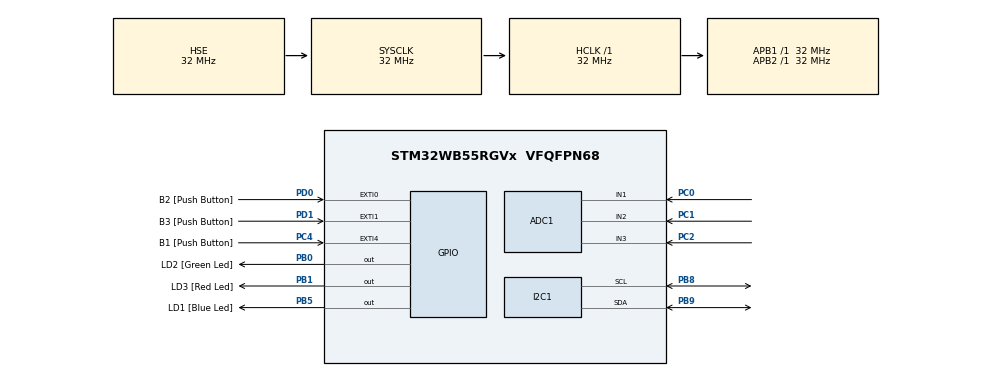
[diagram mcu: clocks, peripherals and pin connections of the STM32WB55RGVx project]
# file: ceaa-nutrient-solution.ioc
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ADC1.Channel-0\#ChannelRegularConversion=ADC_CHANNEL_VREFINT
ADC1.Channel-1\#ChannelRegularConversion=ADC_CHANNEL_1
ADC1.Channel-2\#ChannelRegularConversion=ADC_CHANNEL_2
ADC1.Channel-3\#ChannelRegularConversion=ADC_CHANNEL_3
ADC1.ClockPrescaler=ADC_CLOCK_ASYNC_DIV64
ADC1.DMAContinuousRequests=ENABLE
ADC1.EnableAnalogWatchDog1=false
ADC1.NbrOfConversion=4
ADC1.NbrOfConversionFlag=1
ADC1.OffsetNumber-0\#ChannelRegularConversion=ADC_OFFSET_NONE
ADC1.OffsetNumber-1\#ChannelRegularConversion=ADC_OFFSET_NONE
ADC1.OffsetNumber-2\#ChannelRegularConversion=ADC_OFFSET_NONE
ADC1.OffsetNumber-3\#ChannelRegularConversion=ADC_OFFSET_NONE
ADC1.OversamplingMode=ENABLE
ADC1.OversamplingStopReset=ADC_REGOVERSAMPLING_RESUMED_MODE
ADC1.Rank-0\#ChannelRegularConversion=1
ADC1.Rank-1\#ChannelRegularConversion=2
ADC1.Rank-2\#ChannelRegularConversion=3
ADC1.Rank-3\#ChannelRegularConversion=4
ADC1.Ratio=ADC_OVERSAMPLING_RATIO_256
ADC1.RightBitShift=ADC_RIGHTBITSHIFT_4
ADC1.SamplingTime-0\#ChannelRegularConversion=ADC_SAMPLETIME_47CYCLES_5
ADC1.SamplingTime-1\#ChannelRegularConversion=ADC_SAMPLETIME_640CYCLES_5
ADC1.SamplingTime-2\#ChannelRegularConversion=ADC_SAMPLETIME_640CYCLES_5
ADC1.SamplingTime-3\#ChannelRegularConversion=ADC_SAMPLETIME_640CYCLES_5
ADC1.master=1
Dma.ADC1.0.Direction=DMA_PERIPH_TO_MEMORY
Dma.ADC1.0.EventEnable=DISABLE
Dma.ADC1.0.Instance=DMA1_Channel1
Dma.ADC1.0.MemDataAlignment=DMA_MDATAALIGN_HALFWORD
Dma.ADC1.0.MemInc=DMA_MINC_ENABLE
Dma.ADC1.0.Mode=DMA_NORMAL
Dma.ADC1.0.PeriphDataAlignment=DMA_PDATAALIGN_HALFWORD
Dma.ADC1.0.PeriphInc=DMA_PINC_DISABLE
Dma.ADC1.0.Polarity=HAL_DMAMUX_REQ_GEN_RISING
Dma.ADC1.0.Priority=DMA_PRIORITY_MEDIUM
Dma.ADC1.0.RequestNumber=1
Dma.ADC1.0.SignalID=NONE
Dma.ADC1.0.SyncEnable=DISABLE
Dma.ADC1.0.SyncPolarity=HAL_DMAMUX_SYNC_NO_EVENT
Dma.ADC1.0.SyncRequestNumber=1
Dma.ADC1.0.SyncSignalID=NONE
Dma.I2C1_RX.1.Direction=DMA_PERIPH_TO_MEMORY
Dma.I2C1_RX.1.EventEnable=DISABLE
Dma.I2C1_RX.1.Instance=DMA1_Channel2
Dma.I2C1_RX.1.MemDataAlignment=DMA_MDATAALIGN_BYTE
Dma.I2C1_RX.1.MemInc=DMA_MINC_ENABLE
Dma.I2C1_RX.1.Mode=DMA_NORMAL
Dma.I2C1_RX.1.PeriphDataAlignment=DMA_PDATAALIGN_BYTE
Dma.I2C1_RX.1.PeriphInc=DMA_PINC_DISABLE
Dma.I2C1_RX.1.Polarity=HAL_DMAMUX_REQ_GEN_RISING
Dma.I2C1_RX.1.Priority=DMA_PRIORITY_HIGH
Dma.I2C1_RX.1.RequestNumber=1
Dma.I2C1_RX.1.SignalID=NONE
Dma.I2C1_RX.1.SyncEnable=DISABLE
Dma.I2C1_RX.1.SyncPolarity=HAL_DMAMUX_SYNC_NO_EVENT
Dma.I2C1_RX.1.SyncRequestNumber=1
Dma.I2C1_RX.1.SyncSignalID=NONE
Dma.I2C1_TX.2.Direction=DMA_MEMORY_TO_PERIPH
Dma.I2C1_TX.2.EventEnable=DISABLE
Dma.I2C1_TX.2.Instance=DMA1_Channel3
Dma.I2C1_TX.2.MemDataAlignment=DMA_MDATAALIGN_BYTE
Dma.I2C1_TX.2.MemInc=DMA_MINC_ENABLE
Dma.I2C1_TX.2.Mode=DMA_NORMAL
Dma.I2C1_TX.2.PeriphDataAlignment=DMA_PDATAALIGN_BYTE
Dma.I2C1_TX.2.PeriphInc=DMA_PINC_DISABLE
Dma.I2C1_TX.2.Polarity=HAL_DMAMUX_REQ_GEN_RISING
Dma.I2C1_TX.2.Priority=DMA_PRIORITY_LOW
Dma.I2C1_TX.2.RequestNumber=1
Dma.I2C1_TX.2.SignalID=NONE
Dma.I2C1_TX.2.SyncEnable=DISABLE
Dma.I2C1_TX.2.SyncPolarity=HAL_DMAMUX_SYNC_NO_EVENT
Dma.I2C1_TX.2.SyncRequestNumber=1
Dma.I2C1_TX.2.SyncSignalID=NONE
Dma.Request0=ADC1
Dma.Request1=I2C1_RX
Dma.Request2=I2C1_TX
FREERTOS.INCLUDE_xTaskGetCurrentTaskHandle=1
FREERTOS.Tasks01=defaultTask,24,128,StartDefaultTask,Default,NULL,Static,defaultTaskBuffer,defaultTaskControlBlock;ctrlPumpsTask,24,128,controlPumps,Default,NULL,Static,ctrlPumpsTaskBuffer,ctrlPumpsTaskControlBlock
FREERTOS.configMAX_TASK_NAME_LEN=20
I2C1.I2C_Coeff_DF=0
I2C1.Timing=0x00707CBB
Mcu.Family=STM32WB
Mcu.Name=STM32WB55RGVx
Mcu.Package=VFQFPN68
NVIC.C2SEV_PWR_C2H_IRQn=true\:5\:0\:false\:false\:true\:true\:true\:false
NVIC.DMA1_Channel1_IRQn=true\:5\:0\:false\:false\:true\:true\:false\:true
NVIC.DMA1_Channel2_IRQn=true\:5\:0\:false\:false\:true\:true\:false\:true
NVIC.DMA1_Channel3_IRQn=true\:5\:0\:false\:false\:true\:true\:false\:true
NVIC.EXTI0_IRQn=true\:5\:0\:false\:false\:true\:true\:true\:true
NVIC.EXTI1_IRQn=true\:5\:0\:false\:false\:true\:true\:true\:true
NVIC.EXTI4_IRQn=true\:5\:0\:false\:false\:true\:true\:true\:true
NVIC.FLASH_IRQn=true\:5\:0\:false\:false\:true\:true\:true\:true
NVIC.HSEM_IRQn=true\:5\:0\:false\:false\:true\:true\:true\:true
NVIC.I2C1_EV_IRQn=true\:5\:0\:false\:false\:true\:true\:true\:true
NVIC.PVD_PVM_IRQn=true\:5\:0\:false\:false\:true\:true\:true\:true
NVIC.PWR_SOTF_BLEACT_802ACT_RFPHASE_IRQn=true\:5\:0\:false\:false\:true\:true\:true\:false
NVIC.PriorityGroup=NVIC_PRIORITYGROUP_4
NVIC.TIM1_TRG_COM_TIM17_IRQn=true\:0\:0\:false\:false\:true\:false\:false\:true
NVIC.TimeBase=TIM1_TRG_COM_TIM17_IRQn
NVIC.TimeBaseIP=TIM17
OSC_IN.Mode=HSE-External-Oscillator
OSC_IN.Signal=RCC_OSC_IN
OSC_OUT.Mode=HSE-External-Oscillator
OSC_OUT.Signal=RCC_OSC_OUT
PA11.Signal=USB_DM
PA12.Signal=USB_DP
PA13.GPIO_Label=JTMS
PA13.Signal=SYS_JTMS-SWDIO
PA14.GPIO_Label=JTCK
PA14.Signal=SYS_JTCK-SWCLK
PB0.GPIO_Label=LD2 [Green Led]
PB0.Signal=GPIO_Output
PB1.GPIO_Label=LD3 [Red Led]
PB1.Signal=GPIO_Output
PB3.GPIO_Label=JTDO
PB3.Signal=SYS_JTDO-SWO
PB5.GPIO_Label=LD1 [Blue Led]
PB5.Signal=GPIO_Output
PB6.GPIO_Label=STLINK_RX
PB6.Signal=USART1_TX
PB7.GPIO_Label=STLINK_TX
PB7.Signal=USART1_RX
PB8.Mode=I2C
PB8.Signal=I2C1_SCL
PB9.Mode=I2C
PB9.Signal=I2C1_SDA
PC0.Signal=ADCx_IN1
PC1.Signal=ADCx_IN2
PC13.Signal=SYS_WKUP2
PC14-OSC32_IN.Signal=RCC_OSC32_IN
PC15-OSC32_OUT.Signal=RCC_OSC32_OUT
PC2.Signal=ADCx_IN3
PC4.GPIO_Label=B1 [Push Button]
PC4.GPIO_ModeDefaultEXTI=GPIO_MODE_IT_FALLING
PC4.GPIO_PuPd=GPIO_PULLUP
PC4.Signal=GPXTI4
PD0.GPIO_Label=B2 [Push Button]
PD0.GPIO_ModeDefaultEXTI=GPIO_MODE_IT_FALLING
PD0.GPIO_PuPd=GPIO_PULLUP
PD0.Signal=GPXTI0
PD1.GPIO_Label=B3 [Push Button]
PD1.GPIO_ModeDefaultEXTI=GPIO_MODE_IT_FALLING
PD1.GPIO_PuPd=GPIO_PULLUP
PD1.Signal=GPXTI1
ProjectManager.HeapSize=0x1000
ProjectManager.StackSize=0x4000
ProjectManager.TargetToolchain=Makefile
RCC.ADCFreq_Value=48000000
RCC.AHBFreq_Value=32000000
RCC.APB1Freq_Value=32000000
RCC.APB1TimFreq_Value=32000000
RCC.APB2Freq_Value=32000000
RCC.APB2TimFreq_Value=32000000
RCC.APB3Freq_Value=16000000
RCC.CortexFreq_Value=32000000
RCC.HCLKFreq_Value=32000000
RCC.HSE_VALUE=32000000
RCC.HSI48_VALUE=48000000
RCC.HSI_VALUE=16000000
RCC.LSE_VALUE=32768
RCC.PLLM=RCC_PLLM_DIV2
RCC.PLLSAI1N=12
RCC.PLLSourceVirtual=RCC_PLLSOURCE_HSI
RCC.RTCClockSelection=RCC_RTCCLKSOURCE_HSE_DIV32
RCC.SYSCLKFreq_VALUE=32000000
RCC.SYSCLKSource=RCC_SYSCLKSOURCE_HSE
RCC.USBFreq_Value=48000000
RCC.VCOOutputFreq_Value=64000000
RF1.Mode=RF1_Activate
RF1.Signal=RF_RF1
SH.ADCx_IN1.0=ADC1_IN1,IN1-Single-Ended
SH.ADCx_IN2.0=ADC1_IN2,IN2-Single-Ended
SH.ADCx_IN3.0=ADC1_IN3,IN3-Single-Ended
STM32_WPAN.CFG_DEBUGGER_SUPPORTED=0
STM32_WPAN.CFG_FAST_CONN_ADV_INTERVAL_MAX_HEXA=0x0
STM32_WPAN.CFG_FAST_CONN_ADV_INTERVAL_MIN_HEXA=0x0
STM32_WPAN.CFG_LP_CONN_ADV_INTERVAL_MAX_HEXA=0x0
STM32_WPAN.CFG_LP_CONN_ADV_INTERVAL_MIN_HEXA=0x0
STM32_WPAN.CHANNEL=14
STM32_WPAN.LOCAL_NAME_FORMATTED=,'0'
STM32_WPAN.PANID=1812
STM32_WPAN.THREAD_APPLICATION=FTD
VP_ADC1_Vref_Input.Mode=IN-Vrefint
VP_FREERTOS_VS_CMSIS_V2.Mode=CMSIS_V2
VP_HSEM_VS_HSEM.Mode=HSEM_Activate
VP_RTC_VS_RTC_Activate.Mode=RTC_Enabled
VP_STM32_WPAN_VS_THREAD.Mode=STM32_WPAN_Enabled
VP_SYS_VS_tim17.Mode=TIM17
VP_TINY_LPM_VS_TINY_LPM.Mode=TINY_LPM_Enabled
board=P-NUCLEO-WB55-Nucleo

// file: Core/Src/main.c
/* USER CODE BEGIN Header */
/**
  ******************************************************************************
  * @file           : main.c
  * @brief          : Main program body
  ******************************************************************************
  * @attention
  *
  * <h2><center>&copy; Copyright (c) 2019 STMicroelectronics.
  * All rights reserved.</center></h2>
  *
  * This software component is licensed by ST under Ultimate Liberty license
  * SLA0044, the "License"; You may not use this file except in compliance with
  * the License. You may obtain a copy of the License at:
  *                             www.st.com/SLA0044
  *
  ******************************************************************************
  */
/* USER CODE END Header */

#include "main.h"
#include "cmsis_os.h"
#include "app_entry.h"
#include "app_common.h"

/* USER CODE BEGIN Includes */
#include "hw_conf.h"
#include "otp.h"
#include "motor_shield.h"
#include "sensors.h"
#include "sw_led.h"
/* USER CODE END Includes */

/* USER CODE BEGIN PD */
#define MS_I2C_ADDRESS ((uint16_t) 0xC0)
/* USER CODE END PD */

ADC_HandleTypeDef hadc1;
DMA_HandleTypeDef hdma_adc1;

I2C_HandleTypeDef hi2c1;
DMA_HandleTypeDef hdma_i2c1_rx;
DMA_HandleTypeDef hdma_i2c1_tx;

RTC_HandleTypeDef hrtc;

typedef StaticTask_t osStaticThreadDef_t;
osThreadId_t defaultTaskHandle;
uint32_t defaultTaskBuffer[ 128 ];
osStaticThreadDef_t defaultTaskControlBlock;
osThreadId_t ctrlPumpsTaskHandle;
uint32_t ctrlPumpsTaskBuffer[ 128 ];
osStaticThreadDef_t ctrlPumpsTaskControlBlock;
/* USER CODE BEGIN PV */
osMutexId_t hi2c1_mx;
osEventFlagsId_t evt_id;

static MotorShield_dev MS;
static pca9685_dev pca9685;
static volatile uint8_t rxI2C_buffer[64];
static volatile uint8_t txI2C_buffer[64];
/* USER CODE END PV */

void SystemClock_Config(void);
static void MX_GPIO_Init(void);
static void MX_DMA_Init(void);
static void MX_ADC1_Init(void);
static void MX_I2C1_Init(void);
static void MX_RF_Init(void);
static void MX_RTC_Init(void);
void StartDefaultTask(void *argument);
void controlPumps(void *argument);

/* USER CODE BEGIN PFP */
void PeriphClock_Config(void);
static void Reset_Device( void );
static void Reset_IPCC( void );
static void Reset_BackupDomain( void );
static void Init_Exti( void );
static void Config_HSE(void);

static void Motor_Shield_Init(void);
void delay_ms(uint16_t period);
int8_t i2c_read(uint8_t dev_id, uint8_t reg_addr, uint8_t *reg_data, uint16_t len);
int8_t i2c_write(uint8_t dev_id, uint8_t reg_addr, uint8_t *reg_data, uint16_t len);

void HAL_I2C_TxCpltCallback(I2C_HandleTypeDef *hi2c);
void HAL_I2C_RxCpltCallback(I2C_HandleTypeDef *hi2c);
/* USER CODE END PFP */

int main(void)
{

  /* MCU Configuration--------------------------------------------------------*/

  /* Reset of all peripherals, Initializes the Flash interface and the Systick. */
  HAL_Init();

  /* USER CODE BEGIN Init */
  Reset_Device();
  Config_HSE();
  /* USER CODE END Init */

  /* Configure the system clock */
  SystemClock_Config();

  /* USER CODE BEGIN SysInit */
  PeriphClock_Config();
  Init_Exti(); /**< Configure the system Power Mode */
  /* USER CODE END SysInit */

  /* Initialize all configured peripherals */
  MX_GPIO_Init();
  MX_DMA_Init();
  MX_ADC1_Init();
  MX_I2C1_Init();
  MX_RF_Init();
  MX_RTC_Init();

  osKernelInitialize();

  /* USER CODE BEGIN RTOS_MUTEX */
  const osMutexAttr_t hi2c1_mx_attr = {
    "I2C1_Mutex",
    osMutexRobust,
    NULL,
    0U
  };
  hi2c1_mx = osMutexNew(&hi2c1_mx_attr);

  /* Not a mutex, but eventflags */
  evt_id = osEventFlagsNew(NULL);
  /* USER CODE END RTOS_MUTEX */

  /* Create the thread(s) */
  /* definition and creation of defaultTask */
  const osThreadAttr_t defaultTask_attributes = {
    .name = "defaultTask",
    .stack_mem = &defaultTaskBuffer[0],
    .stack_size = sizeof(defaultTaskBuffer),
    .cb_mem = &defaultTaskControlBlock,
    .cb_size = sizeof(defaultTaskControlBlock),
    .priority = (osPriority_t) osPriorityNormal,
  };
  defaultTaskHandle = osThreadNew(StartDefaultTask, NULL, &defaultTask_attributes);

  /* definition and creation of ctrlPumpsTask */
  const osThreadAttr_t ctrlPumpsTask_attributes = {
    .name = "ctrlPumpsTask",
    .stack_mem = &ctrlPumpsTaskBuffer[0],
    .stack_size = sizeof(ctrlPumpsTaskBuffer),
    .cb_mem = &ctrlPumpsTaskControlBlock,
    .cb_size = sizeof(ctrlPumpsTaskControlBlock),
    .priority = (osPriority_t) osPriorityNormal,
  };
  ctrlPumpsTaskHandle = osThreadNew(controlPumps, NULL, &ctrlPumpsTask_attributes);

  /* USER CODE BEGIN RTOS_THREADS */
  sensors_Init();
  UI_Init();
  /* USER CODE END RTOS_THREADS */

  /* Init code for STM32_WPAN */
  APPE_Init();

  /* Start scheduler */
  osKernelStart();

  /* We should never get here as control is now taken by the scheduler */

  /* Infinite loop */
  while (1)
  {

  }
}

void SystemClock_Config(void)
{
  RCC_OscInitTypeDef RCC_OscInitStruct = {0};
  RCC_ClkInitTypeDef RCC_ClkInitStruct = {0};
  RCC_PeriphCLKInitTypeDef PeriphClkInitStruct = {0};

  /** Macro to configure the PLL multiplication factor
  */
  __HAL_RCC_PLL_PLLM_CONFIG(RCC_PLLM_DIV2);
  /** Macro to configure the PLL clock source
  */
  __HAL_RCC_PLL_PLLSOURCE_CONFIG(RCC_PLLSOURCE_HSI);
  /** Configure the main internal regulator output voltage
  */
  __HAL_PWR_VOLTAGESCALING_CONFIG(PWR_REGULATOR_VOLTAGE_SCALE1);
  /** Initializes the CPU, AHB and APB busses clocks
  */
  RCC_OscInitStruct.OscillatorType = RCC_OSCILLATORTYPE_HSI|RCC_OSCILLATORTYPE_LSI1
                              |RCC_OSCILLATORTYPE_HSE;
  RCC_OscInitStruct.HSEState = RCC_HSE_ON;
  RCC_OscInitStruct.HSIState = RCC_HSI_ON;
  RCC_OscInitStruct.HSICalibrationValue = RCC_HSICALIBRATION_DEFAULT;
  RCC_OscInitStruct.LSIState = RCC_LSI_ON;
  RCC_OscInitStruct.PLL.PLLState = RCC_PLL_NONE;
  if (HAL_RCC_OscConfig(&RCC_OscInitStruct) != HAL_OK)
  {
    Error_Handler();
  }
  /** Configure the SYSCLKSource, HCLK, PCLK1 and PCLK2 clocks dividers
  */
  RCC_ClkInitStruct.ClockType = RCC_CLOCKTYPE_HCLK4|RCC_CLOCKTYPE_HCLK2
                              |RCC_CLOCKTYPE_HCLK|RCC_CLOCKTYPE_SYSCLK
                              |RCC_CLOCKTYPE_PCLK1|RCC_CLOCKTYPE_PCLK2;
  RCC_ClkInitStruct.SYSCLKSource = RCC_SYSCLKSOURCE_HSE;
  RCC_ClkInitStruct.AHBCLKDivider = RCC_SYSCLK_DIV1;
  RCC_ClkInitStruct.APB1CLKDivider = RCC_HCLK_DIV1;
  RCC_ClkInitStruct.APB2CLKDivider = RCC_HCLK_DIV1;
  RCC_ClkInitStruct.AHBCLK2Divider = RCC_SYSCLK_DIV1;
  RCC_ClkInitStruct.AHBCLK4Divider = RCC_SYSCLK_DIV1;

  if (HAL_RCC_ClockConfig(&RCC_ClkInitStruct, FLASH_LATENCY_1) != HAL_OK)
  {
    Error_Handler();
  }
  /** Initializes the peripherals clocks
  */
  PeriphClkInitStruct.PeriphClockSelection = RCC_PERIPHCLK_SMPS|RCC_PERIPHCLK_RFWAKEUP
                              |RCC_PERIPHCLK_RTC|RCC_PERIPHCLK_I2C1
                              |RCC_PERIPHCLK_ADC;
  PeriphClkInitStruct.PLLSAI1.PLLN = 12;
  PeriphClkInitStruct.PLLSAI1.PLLP = RCC_PLLP_DIV2;
  PeriphClkInitStruct.PLLSAI1.PLLQ = RCC_PLLQ_DIV2;
  PeriphClkInitStruct.PLLSAI1.PLLR = RCC_PLLR_DIV2;
  PeriphClkInitStruct.PLLSAI1.PLLSAI1ClockOut = RCC_PLLSAI1_ADCCLK;
  PeriphClkInitStruct.I2c1ClockSelection = RCC_I2C1CLKSOURCE_PCLK1;
  PeriphClkInitStruct.AdcClockSelection = RCC_ADCCLKSOURCE_PLLSAI1;
  PeriphClkInitStruct.RTCClockSelection = RCC_RTCCLKSOURCE_HSE_DIV32;
  PeriphClkInitStruct.RFWakeUpClockSelection = RCC_RFWKPCLKSOURCE_LSI;
  PeriphClkInitStruct.SmpsClockSelection = RCC_SMPSCLKSOURCE_HSE;
  PeriphClkInitStruct.SmpsDivSelection = RCC_SMPSCLKDIV_RANGE0;

  if (HAL_RCCEx_PeriphCLKConfig(&PeriphClkInitStruct) != HAL_OK)
  {
    Error_Handler();
  }
}

static void MX_ADC1_Init(void)
{

  ADC_ChannelConfTypeDef sConfig = {0};

  /** Common config
  */
  hadc1.Instance = ADC1;
  hadc1.Init.ClockPrescaler = ADC_CLOCK_ASYNC_DIV64;
  hadc1.Init.Resolution = ADC_RESOLUTION_12B;
  hadc1.Init.DataAlign = ADC_DATAALIGN_RIGHT;
  hadc1.Init.ScanConvMode = ADC_SCAN_ENABLE;
  hadc1.Init.EOCSelection = ADC_EOC_SINGLE_CONV;
  hadc1.Init.LowPowerAutoWait = DISABLE;
  hadc1.Init.ContinuousConvMode = DISABLE;
  hadc1.Init.NbrOfConversion = 4;
  hadc1.Init.DiscontinuousConvMode = DISABLE;
  hadc1.Init.ExternalTrigConv = ADC_SOFTWARE_START;
  hadc1.Init.ExternalTrigConvEdge = ADC_EXTERNALTRIGCONVEDGE_NONE;
  hadc1.Init.DMAContinuousRequests = ENABLE;
  hadc1.Init.Overrun = ADC_OVR_DATA_PRESERVED;
  hadc1.Init.OversamplingMode = ENABLE;
  hadc1.Init.Oversampling.Ratio = ADC_OVERSAMPLING_RATIO_256;
  hadc1.Init.Oversampling.RightBitShift = ADC_RIGHTBITSHIFT_4;
  hadc1.Init.Oversampling.TriggeredMode = ADC_TRIGGEREDMODE_SINGLE_TRIGGER;
  hadc1.Init.Oversampling.OversamplingStopReset = ADC_REGOVERSAMPLING_RESUMED_MODE;
  if (HAL_ADC_Init(&hadc1) != HAL_OK)
  {
    Error_Handler();
  }
  /** Configure Regular Channel
  */
  sConfig.Channel = ADC_CHANNEL_VREFINT;
  sConfig.Rank = ADC_REGULAR_RANK_1;
  sConfig.SamplingTime = ADC_SAMPLETIME_47CYCLES_5;
  sConfig.SingleDiff = ADC_SINGLE_ENDED;
  sConfig.OffsetNumber = ADC_OFFSET_NONE;
  sConfig.Offset = 0;
  if (HAL_ADC_ConfigChannel(&hadc1, &sConfig) != HAL_OK)
  {
    Error_Handler();
  }
  /** Configure Regular Channel
  */
  sConfig.Channel = ADC_CHANNEL_1;
  sConfig.Rank = ADC_REGULAR_RANK_2;
  sConfig.SamplingTime = ADC_SAMPLETIME_640CYCLES_5;
  if (HAL_ADC_ConfigChannel(&hadc1, &sConfig) != HAL_OK)
  {
    Error_Handler();
  }
  /** Configure Regular Channel
  */
  sConfig.Channel = ADC_CHANNEL_2;
  sConfig.Rank = ADC_REGULAR_RANK_3;
  if (HAL_ADC_ConfigChannel(&hadc1, &sConfig) != HAL_OK)
  {
    Error_Handler();
  }
  /** Configure Regular Channel
  */
  sConfig.Channel = ADC_CHANNEL_3;
  sConfig.Rank = ADC_REGULAR_RANK_4;
  if (HAL_ADC_ConfigChannel(&hadc1, &sConfig) != HAL_OK)
  {
    Error_Handler();
  }
  /* USER CODE BEGIN ADC1_Init 2 */
  /* Run the ADC calibration in single-ended mode */
  if (HAL_ADCEx_Calibration_Start(&hadc1, ADC_SINGLE_ENDED) != HAL_OK)
  {
    /* Calibration Error */
    Error_Handler();
  }

  /* USER CODE END ADC1_Init 2 */

}

static void MX_I2C1_Init(void)
{

  hi2c1.Instance = I2C1;
  hi2c1.Init.Timing = 0x00707CBB;
  hi2c1.Init.OwnAddress1 = 0;
  hi2c1.Init.AddressingMode = I2C_ADDRESSINGMODE_7BIT;
  hi2c1.Init.DualAddressMode = I2C_DUALADDRESS_DISABLE;
  hi2c1.Init.OwnAddress2 = 0;
  hi2c1.Init.OwnAddress2Masks = I2C_OA2_NOMASK;
  hi2c1.Init.GeneralCallMode = I2C_GENERALCALL_DISABLE;
  hi2c1.Init.NoStretchMode = I2C_NOSTRETCH_DISABLE;
  if (HAL_I2C_Init(&hi2c1) != HAL_OK)
  {
    Error_Handler();
  }
  /** Configure Analogue filter
  */
  if (HAL_I2CEx_ConfigAnalogFilter(&hi2c1, I2C_ANALOGFILTER_ENABLE) != HAL_OK)
  {
    Error_Handler();
  }
  /** Configure Digital filter
  */
  if (HAL_I2CEx_ConfigDigitalFilter(&hi2c1, 0) != HAL_OK)
  {
    Error_Handler();
  }

}

static void MX_RF_Init(void)
{

}

static void MX_RTC_Init(void)
{

  /** Initialize RTC Only
  */
  hrtc.Instance = RTC;
  hrtc.Init.HourFormat = RTC_HOURFORMAT_24;
  hrtc.Init.AsynchPrediv = CFG_RTC_ASYNCH_PRESCALER;
  hrtc.Init.SynchPrediv = CFG_RTC_SYNCH_PRESCALER;
  if (HAL_RTC_Init(&hrtc) != HAL_OK)
  {
    Error_Handler();
  }

}

static void MX_DMA_Init(void)
{

  /* DMA controller clock enable */
  __HAL_RCC_DMAMUX1_CLK_ENABLE();
  __HAL_RCC_DMA1_CLK_ENABLE();

  /* DMA interrupt init */
  /* DMA1_Channel1_IRQn interrupt configuration */
  HAL_NVIC_SetPriority(DMA1_Channel1_IRQn, 5, 0);
  HAL_NVIC_EnableIRQ(DMA1_Channel1_IRQn);
  /* DMA1_Channel2_IRQn interrupt configuration */
  HAL_NVIC_SetPriority(DMA1_Channel2_IRQn, 5, 0);
  HAL_NVIC_EnableIRQ(DMA1_Channel2_IRQn);
  /* DMA1_Channel3_IRQn interrupt configuration */
  HAL_NVIC_SetPriority(DMA1_Channel3_IRQn, 5, 0);
  HAL_NVIC_EnableIRQ(DMA1_Channel3_IRQn);

}

static void MX_GPIO_Init(void)
{
  GPIO_InitTypeDef GPIO_InitStruct = {0};

  /* GPIO Ports Clock Enable */
  __HAL_RCC_GPIOC_CLK_ENABLE();
  __HAL_RCC_GPIOB_CLK_ENABLE();
  __HAL_RCC_GPIOA_CLK_ENABLE();
  __HAL_RCC_GPIOD_CLK_ENABLE();

  /*Configure GPIO pin Output Level */
  HAL_GPIO_WritePin(GPIOB, LD2_Pin|LD3_Pin|LD1_Pin, GPIO_PIN_RESET);

  /*Configure GPIO pin : B1_Pin */
  GPIO_InitStruct.Pin = B1_Pin;
  GPIO_InitStruct.Mode = GPIO_MODE_IT_FALLING;
  GPIO_InitStruct.Pull = GPIO_PULLUP;
  HAL_GPIO_Init(B1_GPIO_Port, &GPIO_InitStruct);

  /*Configure GPIO pins : LD2_Pin LD3_Pin LD1_Pin */
  GPIO_InitStruct.Pin = LD2_Pin|LD3_Pin|LD1_Pin;
  GPIO_InitStruct.Mode = GPIO_MODE_OUTPUT_PP;
  GPIO_InitStruct.Pull = GPIO_NOPULL;
  GPIO_InitStruct.Speed = GPIO_SPEED_FREQ_LOW;
  HAL_GPIO_Init(GPIOB, &GPIO_InitStruct);

  /*Configure GPIO pins : PA11 PA12 */
  GPIO_InitStruct.Pin = GPIO_PIN_11|GPIO_PIN_12;
  GPIO_InitStruct.Mode = GPIO_MODE_AF_PP;
  GPIO_InitStruct.Pull = GPIO_NOPULL;
  GPIO_InitStruct.Speed = GPIO_SPEED_FREQ_LOW;
  GPIO_InitStruct.Alternate = GPIO_AF10_USB;
  HAL_GPIO_Init(GPIOA, &GPIO_InitStruct);

  /*Configure GPIO pins : B2_Pin B3_Pin */
  GPIO_InitStruct.Pin = B2_Pin|B3_Pin;
  GPIO_InitStruct.Mode = GPIO_MODE_IT_FALLING;
  GPIO_InitStruct.Pull = GPIO_PULLUP;
  HAL_GPIO_Init(GPIOD, &GPIO_InitStruct);

  /*Configure GPIO pins : STLINK_RX_Pin STLINK_TX_Pin */
  GPIO_InitStruct.Pin = STLINK_RX_Pin|STLINK_TX_Pin;
  GPIO_InitStruct.Mode = GPIO_MODE_AF_PP;
  GPIO_InitStruct.Pull = GPIO_NOPULL;
  GPIO_InitStruct.Speed = GPIO_SPEED_FREQ_LOW;
  GPIO_InitStruct.Alternate = GPIO_AF7_USART1;
  HAL_GPIO_Init(GPIOB, &GPIO_InitStruct);

  /* EXTI interrupt init*/
  HAL_NVIC_SetPriority(EXTI0_IRQn, 5, 0);
  HAL_NVIC_EnableIRQ(EXTI0_IRQn);

  HAL_NVIC_SetPriority(EXTI1_IRQn, 5, 0);
  HAL_NVIC_EnableIRQ(EXTI1_IRQn);

  HAL_NVIC_SetPriority(EXTI4_IRQn, 5, 0);
  HAL_NVIC_EnableIRQ(EXTI4_IRQn);

}

/* USER CODE BEGIN 4 */
void PeriphClock_Config(void)
{

  /**
   * Select LSE clock
   */
  LL_RCC_LSE_Enable();
  while(!LL_RCC_LSE_IsReady());

  /**
   * Select wakeup source of BLE RF
   */
  LL_RCC_SetRFWKPClockSource(LL_RCC_RFWKP_CLKSOURCE_LSE);

  /**
   * Switch OFF LSI
   */
  LL_RCC_LSI1_Disable();

  /**
   * Set RNG on HSI48
   */
  LL_RCC_HSI48_Enable();
  while(!LL_RCC_HSI48_IsReady());
  LL_RCC_SetCLK48ClockSource(LL_RCC_CLK48_CLKSOURCE_HSI48);

  return;
}
/*************************************************************
 *
 * LOCAL FUNCTIONS
 *
 *************************************************************/

static void Config_HSE(void)
{
    OTP_ID0_t * p_otp;

  /**
   * Read HSE_Tuning from OTP
   */
  p_otp = (OTP_ID0_t *) OTP_Read(0);
  if (p_otp)
  {
    LL_RCC_HSE_SetCapacitorTuning(p_otp->hse_tuning);
  }

  return;
}

static void Reset_Device( void )
{
#if ( CFG_HW_RESET_BY_FW == 1 )
  Reset_BackupDomain();

  Reset_IPCC();
#endif

  return;
}

static void Reset_IPCC( void )
{
  LL_AHB3_GRP1_EnableClock(LL_AHB3_GRP1_PERIPH_IPCC);

  LL_C1_IPCC_ClearFlag_CHx(
      IPCC,
      LL_IPCC_CHANNEL_1 | LL_IPCC_CHANNEL_2 | LL_IPCC_CHANNEL_3 | LL_IPCC_CHANNEL_4
      | LL_IPCC_CHANNEL_5 | LL_IPCC_CHANNEL_6);

  LL_C2_IPCC_ClearFlag_CHx(
      IPCC,
      LL_IPCC_CHANNEL_1 | LL_IPCC_CHANNEL_2 | LL_IPCC_CHANNEL_3 | LL_IPCC_CHANNEL_4
      | LL_IPCC_CHANNEL_5 | LL_IPCC_CHANNEL_6);

  LL_C1_IPCC_DisableTransmitChannel(
      IPCC,
      LL_IPCC_CHANNEL_1 | LL_IPCC_CHANNEL_2 | LL_IPCC_CHANNEL_3 | LL_IPCC_CHANNEL_4
      | LL_IPCC_CHANNEL_5 | LL_IPCC_CHANNEL_6);

  LL_C2_IPCC_DisableTransmitChannel(
      IPCC,
      LL_IPCC_CHANNEL_1 | LL_IPCC_CHANNEL_2 | LL_IPCC_CHANNEL_3 | LL_IPCC_CHANNEL_4
      | LL_IPCC_CHANNEL_5 | LL_IPCC_CHANNEL_6);

  LL_C1_IPCC_DisableReceiveChannel(
      IPCC,
      LL_IPCC_CHANNEL_1 | LL_IPCC_CHANNEL_2 | LL_IPCC_CHANNEL_3 | LL_IPCC_CHANNEL_4
      | LL_IPCC_CHANNEL_5 | LL_IPCC_CHANNEL_6);

  LL_C2_IPCC_DisableReceiveChannel(
      IPCC,
      LL_IPCC_CHANNEL_1 | LL_IPCC_CHANNEL_2 | LL_IPCC_CHANNEL_3 | LL_IPCC_CHANNEL_4
      | LL_IPCC_CHANNEL_5 | LL_IPCC_CHANNEL_6);

  return;
}

static void Reset_BackupDomain( void )
{
  if ((LL_RCC_IsActiveFlag_PINRST() != FALSE) && (LL_RCC_IsActiveFlag_SFTRST() == FALSE))
  {
    HAL_PWR_EnableBkUpAccess(); /**< Enable access to the RTC registers */

    /**
     *  Write twice the value to flush the APB-AHB bridge
     *  This bit shall be written in the register before writing the next one
     */
    HAL_PWR_EnableBkUpAccess();

    __HAL_RCC_BACKUPRESET_FORCE();
    __HAL_RCC_BACKUPRESET_RELEASE();
  }

  return;
}

static void Init_Exti( void )
{
  /**< Disable all wakeup interrupt on CPU1 except IPCC(36), HSEM(38) */
  LL_EXTI_DisableIT_0_31(~0);
  LL_EXTI_DisableIT_32_63( (~0) & (~(LL_EXTI_LINE_36 | LL_EXTI_LINE_38)) );

  return;
}

/*
 * ===  FUNCTION  ======================================================================
 *         Name:  Motor_Shield_Init
 *  Description:
 * =====================================================================================
 */
static void Motor_Shield_Init (void)
{
    pca9685 = pca9685_init_struct(MS_I2C_ADDRESS,
                                  (pca9685_i2c_com_fptr_t) i2c_write,
                                  (pca9685_i2c_com_fptr_t) i2c_read,
                                  delay_ms, 1400);
    MS.pca9685 = &pca9685;
    MS.driver1_mode = TB6612_2DC_MODE;
    MS.driver2_mode = TB6612_2DC_MODE;

    if (MS_Init(&MS) != 0)
    {
        Error_Handler();
    }
}		/* -----  end of function Motor_Shield_Init  ----- */

/*-----------------------------------------------------------------------------
 *  Functions for I2C communication with PCA9685 IC
 *-----------------------------------------------------------------------------*/

/*
 * ===  FUNCTION  ======================================================================
 *         Name:  delay_ms
 *  Description:
 * =====================================================================================
 */
void delay_ms(uint16_t period)
{
    osDelay(period);
}

/*
 * ===  FUNCTION  ======================================================================
 *         Name:  i2c_read
 *  Description:
 * =====================================================================================
 */
int8_t i2c_read(uint8_t dev_id, uint8_t reg_addr, uint8_t *reg_data, uint16_t len)
{
    int8_t rslt = 0;                    /* Return 0 for Success, non-zero for failure */

    uint16_t dev_addr = (uint16_t) dev_id;

    osMutexAcquire(hi2c1_mx, osWaitForever);
    osEventFlagsClear(evt_id, MAIN_FLAG_I2C_TX_CPLT | MAIN_FLAG_I2C_RX_CPLT);

    if (HAL_I2C_Master_Transmit_DMA(&hi2c1, dev_addr, (uint8_t *) &reg_addr, len) != HAL_OK)
    {
        Error_Handler();
        rslt = -1;
    }

    osEventFlagsWait(evt_id, MAIN_FLAG_I2C_TX_CPLT, osFlagsWaitAll, osWaitForever);
//    do {} while (HAL_I2C_GetState(&hi2c1) != HAL_I2C_STATE_READY);

    if (len > 0)
    {
        if(HAL_I2C_Master_Receive_DMA(&hi2c1, dev_addr, reg_data, len) != HAL_OK)
        {
            /* Error_Handler() function is called when error occurs. */
            Error_Handler();
            rslt = -1;
        }
//        do {} while (HAL_I2C_GetState(&hi2c1) != HAL_I2C_STATE_READY);

        osEventFlagsWait(evt_id, MAIN_FLAG_I2C_RX_CPLT, osFlagsWaitAll, osWaitForever);
//        do {} while (HAL_I2C_GetState(&hi2c1) != HAL_I2C_STATE_READY);
    }
    osMutexRelease(hi2c1_mx);

    return rslt;
}

/*
 * ===  FUNCTION  ======================================================================
 *         Name:  i2c_write
 *  Description:
 * =====================================================================================
 */
int8_t i2c_write(uint8_t dev_id, uint8_t reg_addr, uint8_t *reg_data, uint16_t len)

{
    int8_t rslt = 0;                            /* Return 0 for Success, non-zero for failure */
    int16_t dev_addr = (uint16_t) dev_id;       /* I2C address */

    /* Build write command */
    txI2C_buffer[0] = reg_addr;                 /* register address */
    int8_t i = 1;
    do {
        txI2C_buffer[i] = reg_data[i-1];
        i++;
    } while (i<len);

    osMutexAcquire(hi2c1_mx, osWaitForever);
    osEventFlagsClear(evt_id, MAIN_FLAG_I2C_TX_CPLT);

    /* I2C transmit */
    if (HAL_I2C_Master_Transmit_DMA(&hi2c1, dev_addr, (uint8_t *) txI2C_buffer, len+1) != HAL_OK)    /* Send command */
    {
        Error_Handler();
        rslt = -1;
    }

    osEventFlagsWait(evt_id, MAIN_FLAG_I2C_TX_CPLT, osFlagsWaitAll, osWaitForever);
//    do {} while (HAL_I2C_GetState(&hi2c1) != HAL_I2C_STATE_READY);
    osMutexRelease(hi2c1_mx);

    return rslt;
}

/*-----------------------------------------------------------------------------
 *  I2C callback functions
 *-----------------------------------------------------------------------------*/

/**
  * @brief  Tx Transfer completed callback
  * @param  hi2c: I2C handle.
  * @retval None
  */
void HAL_I2C_MasterTxCpltCallback(I2C_HandleTypeDef *hi2c)
{
    osEventFlagsSet(evt_id, MAIN_FLAG_I2C_TX_CPLT);
}

/**
  * @brief  Rx Transfer completed callback
  * @param  hi2c: I2C handle.
  * @retval None
  */
void HAL_I2C_MasterRxCpltCallback(I2C_HandleTypeDef *hi2c)
{
    osEventFlagsSet(evt_id, MAIN_FLAG_I2C_RX_CPLT);
}

void HAL_I2C_ErrorCallback(I2C_HandleTypeDef *I2cHandle)
{
  if (HAL_I2C_GetError(I2cHandle) != HAL_I2C_ERROR_AF)
  {
    Error_Handler();
  }
}

/* USER CODE END 4 */

void StartDefaultTask(void *argument)
{
  /* USER CODE BEGIN 5 */
  /* Infinite loop */
  for(;;)
  {
    osThreadFlagsWait(1,osFlagsWaitAll,osWaitForever);
  }
  /* USER CODE END 5 */
}

void controlPumps(void *argument)
{
  /* USER CODE BEGIN controlPumps */
  int8_t ms_status;
//  Motor_Shield_Init();
  /* Infinite loop */
  for(;;)
  {
//    ms_status = MS_DC_drive(&MS, MS_DC_MOTOR_4, MS_CW, 1024);
//    if (ms_status != MS_OK)
//    {
//        Error_Handler();
//    }
//    osDelay(500);
//    ms_status = MS_DC_drive(&MS, MS_DC_MOTOR_4, MS_SHORT_BRAKE, 1024);
//    if (ms_status != MS_OK)
//    {
//        Error_Handler();
//    }

    osDelay(5000);
  }
  /* USER CODE END controlPumps */
}

void HAL_TIM_PeriodElapsedCallback(TIM_HandleTypeDef *htim)
{
  if (htim->Instance == TIM17) {
    HAL_IncTick();
  }
}

void Error_Handler(void)
{
  /* USER CODE BEGIN Error_Handler_Debug */
  /* User can add his own implementation to report the HAL error return state */
  for (;;)
  {
    HAL_GPIO_TogglePin(LD2_GPIO_Port, LD2_Pin);
    HAL_Delay(250);
    HAL_GPIO_TogglePin(LD1_GPIO_Port, LD1_Pin);
    HAL_GPIO_TogglePin(LD3_GPIO_Port, LD3_Pin);
    HAL_Delay(250);
  }

  /* USER CODE END Error_Handler_Debug */
}

/************************ (C) COPYRIGHT STMicroelectronics *****END OF FILE****/
